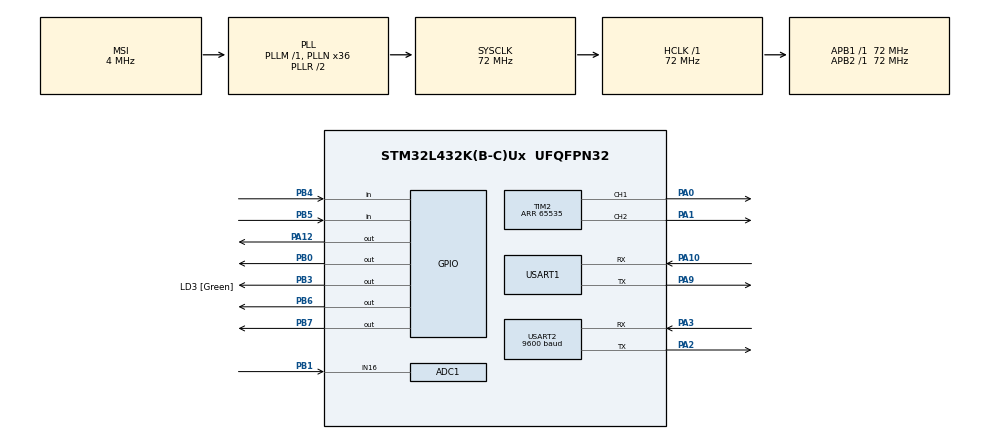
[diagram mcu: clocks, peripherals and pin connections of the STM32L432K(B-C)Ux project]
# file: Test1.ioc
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ADC1.Channel-5\#ChannelRegularConversion=ADC_CHANNEL_16
ADC1.NbrOfConversionFlag=1
ADC1.OffsetNumber-5\#ChannelRegularConversion=ADC_OFFSET_NONE
ADC1.Rank-5\#ChannelRegularConversion=1
ADC1.SamplingTime-5\#ChannelRegularConversion=ADC_SAMPLETIME_2CYCLES_5
ADC1.master=1
Dma.Request0=USART1_RX
Dma.USART1_RX.0.Direction=DMA_PERIPH_TO_MEMORY
Dma.USART1_RX.0.Instance=DMA1_Channel5
Dma.USART1_RX.0.MemDataAlignment=DMA_MDATAALIGN_BYTE
Dma.USART1_RX.0.MemInc=DMA_MINC_ENABLE
Dma.USART1_RX.0.Mode=DMA_NORMAL
Dma.USART1_RX.0.PeriphDataAlignment=DMA_PDATAALIGN_BYTE
Dma.USART1_RX.0.PeriphInc=DMA_PINC_DISABLE
Dma.USART1_RX.0.Priority=DMA_PRIORITY_VERY_HIGH
Mcu.Family=STM32L4
Mcu.Name=STM32L432K(B-C)Ux
Mcu.Package=UFQFPN32
NVIC.DMA1_Channel5_IRQn=true\:0\:0\:false\:false\:true\:false\:true
NVIC.PriorityGroup=NVIC_PRIORITYGROUP_4
NVIC.TIM6_DAC_IRQn=true\:0\:0\:false\:false\:true\:true\:true
NVIC.USART1_IRQn=true\:0\:0\:false\:false\:true\:true\:true
NVIC.USART2_IRQn=true\:0\:0\:false\:false\:true\:true\:true
PA0.Signal=S_TIM2_CH1
PA1.Signal=S_TIM2_CH2
PA10.Mode=Asynchronous
PA10.Signal=USART1_RX
PA12.Signal=GPIO_Output
PA13\ (JTMS-SWDIO).GPIO_Label=SWDIO
PA13\ (JTMS-SWDIO).Mode=Serial_Wire
PA13\ (JTMS-SWDIO).Signal=SYS_JTMS-SWDIO
PA14\ (JTCK-SWCLK).GPIO_Label=SWCLK
PA14\ (JTCK-SWCLK).Mode=Serial_Wire
PA14\ (JTCK-SWCLK).Signal=SYS_JTCK-SWCLK
PA2.Mode=Asynchronous
PA2.Signal=USART2_TX
PA3.Mode=Asynchronous
PA3.Signal=USART2_RX
PA9.Mode=Asynchronous
PA9.Signal=USART1_TX
PB0.Signal=GPIO_Output
PB1.Signal=ADCx_IN16
PB3\ (JTDO-TRACESWO).GPIO_Label=LD3 [Green]
PB3\ (JTDO-TRACESWO).Signal=GPIO_Output
PB4\ (NJTRST).Signal=GPIO_Input
PB5.Signal=GPIO_Input
PB6.Signal=GPIO_Output
PB7.Signal=GPIO_Output
PC14-OSC32_IN\ (PC14).Mode=LSE-External-Oscillator
PC14-OSC32_IN\ (PC14).Signal=RCC_OSC32_IN
PC15-OSC32_OUT\ (PC15).Mode=LSE-External-Oscillator
PC15-OSC32_OUT\ (PC15).Signal=RCC_OSC32_OUT
ProjectManager.HeapSize=0x200
ProjectManager.StackSize=0x400
ProjectManager.TargetToolchain=STM32CubeIDE
RCC.ADCFreq_Value=32000000
RCC.AHBFreq_Value=72000000
RCC.APB1Freq_Value=72000000
RCC.APB1TimFreq_Value=72000000
RCC.APB2Freq_Value=72000000
RCC.APB2TimFreq_Value=72000000
RCC.CortexFreq_Value=72000000
RCC.HCLKFreq_Value=72000000
RCC.HSE_VALUE=8000000
RCC.HSI16_VALUE=16000000
RCC.HSI48_VALUE=48000000
RCC.HSI_VALUE=16000000
RCC.MSI_VALUE=4000000
RCC.PLLMUL=RCC_PLLMUL_4
RCC.PLLN=36
RCC.PLLSAI1N=16
RCC.SYSCLKFreq_VALUE=72000000
RCC.SYSCLKSource=RCC_SYSCLKSOURCE_PLLCLK
RCC.USBFreq_Value=32000000
RCC.VCOOutputFreq_Value=144000000
SH.ADCx_IN16.0=ADC1_IN16,IN16-Single-Ended
SH.S_TIM2_CH1.0=TIM2_CH1,PWM Generation1 CH1
SH.S_TIM2_CH2.0=TIM2_CH2,PWM Generation2 CH2
TIM2.AutoReloadPreload=TIM_AUTORELOAD_PRELOAD_ENABLE
TIM2.Channel-PWM\ Generation1\ CH1=TIM_CHANNEL_1
TIM2.Channel-PWM\ Generation2\ CH2=TIM_CHANNEL_2
TIM2.Period=65535
TIM6.AutoReloadPreload=TIM_AUTORELOAD_PRELOAD_ENABLE
TIM6.Period=1000
TIM6.Prescaler=71
USART1.VirtualMode-Asynchronous=VM_ASYNC
USART2.BaudRate=9600
USART2.VirtualMode-Asynchronous=VM_ASYNC
VP_TIM2_VS_ClockSourceINT.Mode=Internal
VP_TIM6_VS_ClockSourceINT.Mode=Enable_Timer
board=NUCLEO-L432KC

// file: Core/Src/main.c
/* USER CODE BEGIN Header */
/**
  ******************************************************************************
  * @file           : main.c
  * @brief          : Main program body
  ******************************************************************************
  * @attention
  *
  * Copyright (c) 2021 STMicroelectronics.
  * All rights reserved.
  *
  * This software is licensed under terms that can be found in the LICENSE file
  * in the root directory of this software component.
  * If no LICENSE file comes with this software, it is provided AS-IS.
  *
  ******************************************************************************
  */
/* USER CODE END Header */
#include "main.h"

/* USER CODE BEGIN Includes */
#include <string.h>
#include <stdio.h>
#include "Lights.h"
#include "Motors.h"
#include "SWTimer.h"
#include "Config.h"
#include "Lidar.h"
/* USER CODE END Includes */

ADC_HandleTypeDef hadc1;

TIM_HandleTypeDef htim2;
TIM_HandleTypeDef htim6;

UART_HandleTypeDef huart1;
UART_HandleTypeDef huart2;
DMA_HandleTypeDef hdma_usart1_rx;

void SystemClock_Config(void);
static void MX_GPIO_Init(void);
static void MX_TIM2_Init(void);
static void MX_ADC1_Init(void);
static void MX_DMA_Init(void);
static void MX_USART1_UART_Init(void);
static void MX_TIM6_Init(void);
static void MX_USART2_UART_Init(void);
/* USER CODE BEGIN PFP */
uint8_t RxData;
static uint8_t Speed = 0;

enum State{ MvForward, MvBackward, MvLeft, MvRight, Idle};
enum AutonomyLevel {Manual, Autonomous};
enum LightState{On, Off};
enum State CurrentState = Idle;
enum State CurrentManualState = Idle;
enum LightState CurrentLightState = Off;
enum AutonomyLevel CurrentAutonomy = Manual;
/* USER CODE END PFP */

/* USER CODE BEGIN 0 */
 uint8_t LidarRxBuff[BUFF_SIZE] = {0};
static bool LidarStarted = false; /* variable to check if the Lidar sensor has sent the first buffer of data */
static bool StartDataProcessing = false;
static bool Received = false;
bool Debug_Received = false;
static float PosX[FULL_CIRCLE];
static float PosY[FULL_CIRCLE];
uint64_t Millis = 0;
uint8_t LidarState = LIDAR_ON;
uint8_t ChangedManually = NOT_CHANGED_MAN; /* check if the state of the motors was manually changed */
extern uint64_t Interval;

static bool InRange(float Val, float Delta){
	bool ToReturn = false;
		if((Val<Delta) && (Val>(-1)*Delta))
		{
			ToReturn = true;
		}
		else
		{
			ToReturn = false;
		}
	return ToReturn;
}

void selfDrive(){
//	uint16_t Idx = 0;
//	bool FoundAng = false;
//		if(LidarStarted == false)
//		{
//			LidarInit(LidarRxBuff, (&Received), &huart1, &LidarState);
//			LidarStarted = true;
//		}
//		else if(LidarState == LIDAR_ON)
//		{
//		LidarGetData(LidarRxBuff, StartDataProcessing, PosX, PosY, LidarState);
//		for(Idx = 0; (Idx<FULL_CIRCLE) && (FoundAng == false); Idx++)
//		{
//			if(InRange(Angles[Idx], ANG_DIST_ERR) == true)
//			{
//				FoundAng = true;
//			}
//		}
//		if(Idx!=FULL_CIRCLE)
//		{
//			if((InRange(Distances[Idx], ANG_DIST_ERR) == false) && (Distances[Idx]>MIN_DIST))
//			{
//				MoveForward(AUTO_SPD);
//			}
//			else
//			{
//				Stop();
//			}
//		}
//		else
//		{
//			Stop();
//		}
//		}
//		else
//		{
//			CurrentAutonomy = Manual;
//		}
}
void stateRoutine(){
	int32_t DebounceCount_L = 0;
	int32_t DebounceCount_R = 0;
	int8_t NrCnt = 0;
		switch (CurrentState)
		{
		case MvForward:
			MoveForward(Speed);
			break;
		case MvBackward:
			MoveBackward(Speed);
			break;
		case MvLeft:
			MoveLeft(Speed);
			break;
		case MvRight:
			MoveRight(Speed);
			break;
		case Idle:
			Stop();
			break;
		default: break;
		}
		/* check if the buttons are pressed */
		for (NrCnt = 0; NrCnt<MAX_CNT; NrCnt++) {
			if (HAL_GPIO_ReadPin(BUTTON_REGISTER, BUTTON_L)==GPIO_PIN_SET)
			{
				DebounceCount_L++;
			}
			else if (HAL_GPIO_ReadPin(BUTTON_REGISTER, BUTTON_L) == GPIO_PIN_RESET)
			{
				DebounceCount_L--;
			}
			else
			{
				/* MISRA Requirement */
			}
			if (HAL_GPIO_ReadPin(BUTTON_REGISTER, BUTTON_R) == GPIO_PIN_SET)
			{
				DebounceCount_R++;
			}
			else if (HAL_GPIO_ReadPin(BUTTON_REGISTER, BUTTON_R)==GPIO_PIN_RESET)
			{
				DebounceCount_R--;
			}
			else
			{

			}

		}
		/* change the global car state if one of the buttons in pressed */
		if ((DebounceCount_L > MIN_PRESSED_VAL) && (DebounceCount_R > MIN_PRESSED_VAL))
		{
			CurrentManualState = MvForward;
		}
		else if (DebounceCount_L > MIN_PRESSED_VAL)
		{
			CurrentManualState = MvLeft;
		}
		else if (DebounceCount_R > MIN_PRESSED_VAL)
		{
			CurrentManualState = MvRight;
		}
		else if ((DebounceCount_L < MIN_UNPRESSED_VAL) && (DebounceCount_R < MIN_UNPRESSED_VAL))
		{
			CurrentManualState = Idle;
		}
		else
		{

		}
		if (CurrentState != CurrentManualState)
		{
			if (CurrentState == Idle)
			{
				CurrentState = CurrentManualState;
				ChangedManually = CHANGED_MAN;
			}
		}
		if ((CurrentManualState == Idle) && (ChangedManually == CHANGED_MAN)) {
			CurrentState = Idle;
			ChangedManually = NOT_CHANGED_MAN;
		}
		/* check the light state and turn it on/off accordingly */
		switch (CurrentLightState) {
		case On:
			LightsAdjustByIntensity();
			break;
		case Off:
			LightsOff();
			break;
		default: break;
		}
}
/* USER CODE END 0 */

int main(void)
{

  /* MCU Configuration--------------------------------------------------------*/

  /* Reset of all peripherals, Initializes the Flash interface and the Systick. */
  HAL_Init();

  /* Configure the system clock */
  SystemClock_Config();

  /* Initialize all configured peripherals */
  MX_GPIO_Init();
  MX_TIM2_Init();
  MX_ADC1_Init();
  MX_DMA_Init();
  MX_USART1_UART_Init();
  MX_TIM6_Init();
  MX_USART2_UART_Init();
  /* USER CODE BEGIN 2 */
  HAL_UART_Receive_IT(&huart2,&RxData,1);
  HAL_TIM_PWM_Start(&htim2, TIM_CHANNEL_1);
  HAL_TIM_PWM_Start(&htim2, TIM_CHANNEL_2);
  HAL_TIM_Base_Start_IT(&htim6);
  LidarInit(LidarRxBuff, &Received, &huart1, &LidarState);
  /* USER CODE END 2 */

  /* Infinite loop */
  /* USER CODE BEGIN WHILE */
  while (1)
  {
	  LidarGetData(LidarRxBuff, StartDataProcessing, PosX, PosY, LidarState);
	  /* implement actions depending o the current state of the car */
#ifndef DEBUG_STATE
	  if(CurrentAutonomy == Autonomous)
	  {
		  selfDrive();
	  }
	  else
	  {
		stateRoutine();
	  }
#endif
    /* USER CODE END WHILE */

  }
}

void SystemClock_Config(void)
{
  RCC_OscInitTypeDef RCC_OscInitStruct = {0};
  RCC_ClkInitTypeDef RCC_ClkInitStruct = {0};

  /** Configure the main internal regulator output voltage
  */
  if (HAL_PWREx_ControlVoltageScaling(PWR_REGULATOR_VOLTAGE_SCALE1) != HAL_OK)
  {
    Error_Handler();
  }
  /** Configure LSE Drive Capability
  */
  HAL_PWR_EnableBkUpAccess();
  __HAL_RCC_LSEDRIVE_CONFIG(RCC_LSEDRIVE_LOW);
  /** Initializes the RCC Oscillators according to the specified parameters
  * in the RCC_OscInitTypeDef structure.
  */
  RCC_OscInitStruct.OscillatorType = RCC_OSCILLATORTYPE_LSE|RCC_OSCILLATORTYPE_MSI;
  RCC_OscInitStruct.LSEState = RCC_LSE_ON;
  RCC_OscInitStruct.MSIState = RCC_MSI_ON;
  RCC_OscInitStruct.MSICalibrationValue = 0;
  RCC_OscInitStruct.MSIClockRange = RCC_MSIRANGE_6;
  RCC_OscInitStruct.PLL.PLLState = RCC_PLL_ON;
  RCC_OscInitStruct.PLL.PLLSource = RCC_PLLSOURCE_MSI;
  RCC_OscInitStruct.PLL.PLLM = 1;
  RCC_OscInitStruct.PLL.PLLN = 36;
  RCC_OscInitStruct.PLL.PLLP = RCC_PLLP_DIV7;
  RCC_OscInitStruct.PLL.PLLQ = RCC_PLLQ_DIV2;
  RCC_OscInitStruct.PLL.PLLR = RCC_PLLR_DIV2;
  if (HAL_RCC_OscConfig(&RCC_OscInitStruct) != HAL_OK)
  {
    Error_Handler();
  }
  /** Initializes the CPU, AHB and APB buses clocks
  */
  RCC_ClkInitStruct.ClockType = RCC_CLOCKTYPE_HCLK|RCC_CLOCKTYPE_SYSCLK
                              |RCC_CLOCKTYPE_PCLK1|RCC_CLOCKTYPE_PCLK2;
  RCC_ClkInitStruct.SYSCLKSource = RCC_SYSCLKSOURCE_PLLCLK;
  RCC_ClkInitStruct.AHBCLKDivider = RCC_SYSCLK_DIV1;
  RCC_ClkInitStruct.APB1CLKDivider = RCC_HCLK_DIV1;
  RCC_ClkInitStruct.APB2CLKDivider = RCC_HCLK_DIV1;

  if (HAL_RCC_ClockConfig(&RCC_ClkInitStruct, FLASH_LATENCY_4) != HAL_OK)
  {
    Error_Handler();
  }
  /** Enable MSI Auto calibration
  */
  HAL_RCCEx_EnableMSIPLLMode();
}

static void MX_ADC1_Init(void)
{

  ADC_ChannelConfTypeDef sConfig = {0};

  /** Common config
  */
  hadc1.Instance = ADC1;
  hadc1.Init.ClockPrescaler = ADC_CLOCK_ASYNC_DIV1;
  hadc1.Init.Resolution = ADC_RESOLUTION_12B;
  hadc1.Init.DataAlign = ADC_DATAALIGN_RIGHT;
  hadc1.Init.ScanConvMode = ADC_SCAN_DISABLE;
  hadc1.Init.EOCSelection = ADC_EOC_SINGLE_CONV;
  hadc1.Init.LowPowerAutoWait = DISABLE;
  hadc1.Init.ContinuousConvMode = DISABLE;
  hadc1.Init.NbrOfConversion = 1;
  hadc1.Init.DiscontinuousConvMode = DISABLE;
  hadc1.Init.ExternalTrigConv = ADC_SOFTWARE_START;
  hadc1.Init.ExternalTrigConvEdge = ADC_EXTERNALTRIGCONVEDGE_NONE;
  hadc1.Init.DMAContinuousRequests = DISABLE;
  hadc1.Init.Overrun = ADC_OVR_DATA_PRESERVED;
  hadc1.Init.OversamplingMode = DISABLE;
  if (HAL_ADC_Init(&hadc1) != HAL_OK)
  {
    Error_Handler();
  }
  /** Configure Regular Channel
  */
  sConfig.Channel = ADC_CHANNEL_16;
  sConfig.Rank = ADC_REGULAR_RANK_1;
  sConfig.SamplingTime = ADC_SAMPLETIME_2CYCLES_5;
  sConfig.SingleDiff = ADC_SINGLE_ENDED;
  sConfig.OffsetNumber = ADC_OFFSET_NONE;
  sConfig.Offset = 0;
  if (HAL_ADC_ConfigChannel(&hadc1, &sConfig) != HAL_OK)
  {
    Error_Handler();
  }

}

static void MX_TIM2_Init(void)
{

  TIM_ClockConfigTypeDef sClockSourceConfig = {0};
  TIM_MasterConfigTypeDef sMasterConfig = {0};
  TIM_OC_InitTypeDef sConfigOC = {0};

  htim2.Instance = TIM2;
  htim2.Init.Prescaler = 0;
  htim2.Init.CounterMode = TIM_COUNTERMODE_UP;
  htim2.Init.Period = 65535;
  htim2.Init.ClockDivision = TIM_CLOCKDIVISION_DIV1;
  htim2.Init.AutoReloadPreload = TIM_AUTORELOAD_PRELOAD_ENABLE;
  if (HAL_TIM_Base_Init(&htim2) != HAL_OK)
  {
    Error_Handler();
  }
  sClockSourceConfig.ClockSource = TIM_CLOCKSOURCE_INTERNAL;
  if (HAL_TIM_ConfigClockSource(&htim2, &sClockSourceConfig) != HAL_OK)
  {
    Error_Handler();
  }
  if (HAL_TIM_PWM_Init(&htim2) != HAL_OK)
  {
    Error_Handler();
  }
  sMasterConfig.MasterOutputTrigger = TIM_TRGO_RESET;
  sMasterConfig.MasterSlaveMode = TIM_MASTERSLAVEMODE_DISABLE;
  if (HAL_TIMEx_MasterConfigSynchronization(&htim2, &sMasterConfig) != HAL_OK)
  {
    Error_Handler();
  }
  sConfigOC.OCMode = TIM_OCMODE_PWM1;
  sConfigOC.Pulse = 0;
  sConfigOC.OCPolarity = TIM_OCPOLARITY_HIGH;
  sConfigOC.OCFastMode = TIM_OCFAST_DISABLE;
  if (HAL_TIM_PWM_ConfigChannel(&htim2, &sConfigOC, TIM_CHANNEL_1) != HAL_OK)
  {
    Error_Handler();
  }
  if (HAL_TIM_PWM_ConfigChannel(&htim2, &sConfigOC, TIM_CHANNEL_2) != HAL_OK)
  {
    Error_Handler();
  }
  HAL_TIM_MspPostInit(&htim2);

}

static void MX_TIM6_Init(void)
{

  TIM_MasterConfigTypeDef sMasterConfig = {0};

  htim6.Instance = TIM6;
  htim6.Init.Prescaler = 71;
  htim6.Init.CounterMode = TIM_COUNTERMODE_UP;
  htim6.Init.Period = 1000;
  htim6.Init.AutoReloadPreload = TIM_AUTORELOAD_PRELOAD_ENABLE;
  if (HAL_TIM_Base_Init(&htim6) != HAL_OK)
  {
    Error_Handler();
  }
  sMasterConfig.MasterOutputTrigger = TIM_TRGO_RESET;
  sMasterConfig.MasterSlaveMode = TIM_MASTERSLAVEMODE_DISABLE;
  if (HAL_TIMEx_MasterConfigSynchronization(&htim6, &sMasterConfig) != HAL_OK)
  {
    Error_Handler();
  }

}

static void MX_USART1_UART_Init(void)
{

  huart1.Instance = USART1;
  huart1.Init.BaudRate = 115200;
  huart1.Init.WordLength = UART_WORDLENGTH_8B;
  huart1.Init.StopBits = UART_STOPBITS_1;
  huart1.Init.Parity = UART_PARITY_NONE;
  huart1.Init.Mode = UART_MODE_TX_RX;
  huart1.Init.HwFlowCtl = UART_HWCONTROL_NONE;
  huart1.Init.OverSampling = UART_OVERSAMPLING_16;
  huart1.Init.OneBitSampling = UART_ONE_BIT_SAMPLE_DISABLE;
  huart1.AdvancedInit.AdvFeatureInit = UART_ADVFEATURE_NO_INIT;
  if (HAL_UART_Init(&huart1) != HAL_OK)
  {
    Error_Handler();
  }

}

static void MX_USART2_UART_Init(void)
{

  huart2.Instance = USART2;
  huart2.Init.BaudRate = 9600;
  huart2.Init.WordLength = UART_WORDLENGTH_8B;
  huart2.Init.StopBits = UART_STOPBITS_1;
  huart2.Init.Parity = UART_PARITY_NONE;
  huart2.Init.Mode = UART_MODE_TX_RX;
  huart2.Init.HwFlowCtl = UART_HWCONTROL_NONE;
  huart2.Init.OverSampling = UART_OVERSAMPLING_16;
  huart2.Init.OneBitSampling = UART_ONE_BIT_SAMPLE_DISABLE;
  huart2.AdvancedInit.AdvFeatureInit = UART_ADVFEATURE_NO_INIT;
  if (HAL_UART_Init(&huart2) != HAL_OK)
  {
    Error_Handler();
  }

}

static void MX_DMA_Init(void)
{

  /* DMA controller clock enable */
  __HAL_RCC_DMA1_CLK_ENABLE();

  /* DMA interrupt init */
  /* DMA1_Channel5_IRQn interrupt configuration */
  HAL_NVIC_SetPriority(DMA1_Channel5_IRQn, 0, 0);
  HAL_NVIC_EnableIRQ(DMA1_Channel5_IRQn);

}

static void MX_GPIO_Init(void)
{
  GPIO_InitTypeDef GPIO_InitStruct = {0};

  /* GPIO Ports Clock Enable */
  __HAL_RCC_GPIOC_CLK_ENABLE();
  __HAL_RCC_GPIOA_CLK_ENABLE();
  __HAL_RCC_GPIOB_CLK_ENABLE();

  /*Configure GPIO pin Output Level */
  HAL_GPIO_WritePin(GPIOB, GPIO_PIN_0|LD3_Pin|GPIO_PIN_6|GPIO_PIN_7, GPIO_PIN_RESET);

  /*Configure GPIO pin Output Level */
  HAL_GPIO_WritePin(GPIOA, GPIO_PIN_12, GPIO_PIN_RESET);

  /*Configure GPIO pins : PB0 LD3_Pin PB6 PB7 */
  GPIO_InitStruct.Pin = GPIO_PIN_0|LD3_Pin|GPIO_PIN_6|GPIO_PIN_7;
  GPIO_InitStruct.Mode = GPIO_MODE_OUTPUT_PP;
  GPIO_InitStruct.Pull = GPIO_NOPULL;
  GPIO_InitStruct.Speed = GPIO_SPEED_FREQ_LOW;
  HAL_GPIO_Init(GPIOB, &GPIO_InitStruct);

  /*Configure GPIO pin : PA12 */
  GPIO_InitStruct.Pin = GPIO_PIN_12;
  GPIO_InitStruct.Mode = GPIO_MODE_OUTPUT_PP;
  GPIO_InitStruct.Pull = GPIO_NOPULL;
  GPIO_InitStruct.Speed = GPIO_SPEED_FREQ_LOW;
  HAL_GPIO_Init(GPIOA, &GPIO_InitStruct);

  /*Configure GPIO pins : PB4 PB5 */
  GPIO_InitStruct.Pin = GPIO_PIN_4|GPIO_PIN_5;
  GPIO_InitStruct.Mode = GPIO_MODE_INPUT;
  GPIO_InitStruct.Pull = GPIO_NOPULL;
  HAL_GPIO_Init(GPIOB, &GPIO_InitStruct);

}

/* USER CODE BEGIN 4 */
void HAL_UART_RxCpltCallback(UART_HandleTypeDef *huart) {
	if (huart->Instance == USART2)
	{
		if (RxData == AUTO_CMD)
		{
			CurrentAutonomy = Autonomous;
		}
		else if (RxData == MAN_CMD)
		{
			CurrentAutonomy = Manual;
		}
		else
		{

		}
		if (CurrentAutonomy == Manual)
		{
			switch (RxData)
			{
			case MV_FWD_CMD:
				CurrentState = MvForward;
				break;
			case MV_BWD_CMD:
				CurrentState = MvBackward;
				break;
			case MV_LEFT_CMD:
				CurrentState = MvLeft;
				break;
			case MV_RIGHT_CMD:
				CurrentState = MvRight;
				break;
			case STOP_CMD:
				CurrentState = Idle;
				break;
			case LIGHT_ON_CMD:
				CurrentLightState = On;
				break;
			case LIGHT_OFF_CMD:
				CurrentLightState = Off;
				break;
			default:
				if ((RxData >= MIN_SPEED_CMD) && (RxData <= MAX_SPEED_CMD))
				{
					Speed = RxData - '0';
				}
				break;
			}
		}
		HAL_UART_Transmit(&huart2, &RxData, BT_BUFF_SIZE, WAIT_TIME);
		HAL_UART_Receive_IT(&huart2, &RxData, BT_BUFF_SIZE);
	}
	else if (huart->Instance == USART1)
	{
		Millis = Interval;
		Received = true;
		HAL_UART_Receive_DMA(&huart1, LidarRxBuff, BUFF_SIZE);
		if (LidarStarted != false) {
			if (StartDataProcessing == false)
			{
				StartDataProcessing = true;
			}
		}
		else
		{
			LidarStarted = true;
		}
	}
	else
	{
		/* MISRA Requirement */
	}
}

/* USER CODE END 4 */

void Error_Handler(void)
{
  __disable_irq();
  while (1)
  {
  }
}
